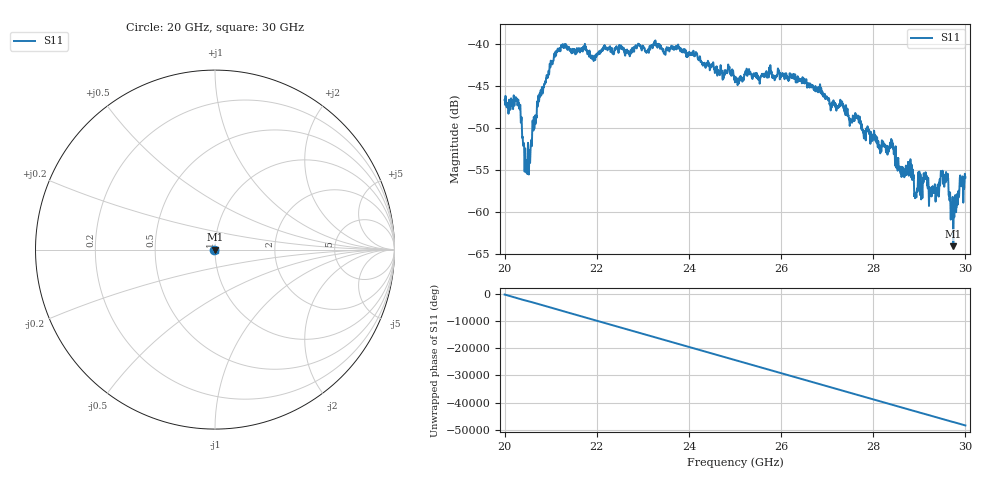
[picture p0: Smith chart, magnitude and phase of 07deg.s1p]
#  HZ  S  RI  R  50.00
! Rohde & Schwarz ZVA40 4Ports - Version 3.90 - 1145.1110k42 SN: 100403
! Date: 2023-10-03 11:37:09
! Measurement: S12
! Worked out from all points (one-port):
!   5001 points, 20 GHz to 30 GHz, reference 50 ohm
!   lowest |S11| = -64.1 dB at 29.74 GHz (marker M1), VSWR 1.00, Z = 50.1 - j0.0187 ohm
!   |S11| at or under -10 dB: start of sweep to end of sweep
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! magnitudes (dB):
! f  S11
! 20 GHz  -46.7
! 20.29 GHz  -46.7
! 20.48 GHz  -55.0
! 20.75 GHz  -46.5
! 21.11 GHz  -41.0
! 21.25 GHz  -40.2
! 21.92 GHz  -41.6
! 22.5 GHz  -40.4
! 23.75 GHz  -40.6
! 25 GHz  -44.6
! 26.25 GHz  -43.8
! 27.31 GHz  -47.2
! 27.5 GHz  -49.2
! 27.66 GHz  -48.8
! 27.79 GHz  -50.9
! 28.14 GHz  -52.6
! 28.41 GHz  -51.5
! 28.57 GHz  -54.8
! 28.75 GHz  -54.9
! 28.83 GHz  -54.4
! 28.92 GHz  -58.2
! 29.12 GHz  -55.9
! 29.25 GHz  -57.2
! 29.38 GHz  -58.0
! 29.58 GHz  -55.4
! 29.74 GHz  -64.1
! 29.89 GHz  -56.4
! 30 GHz  -56.0
